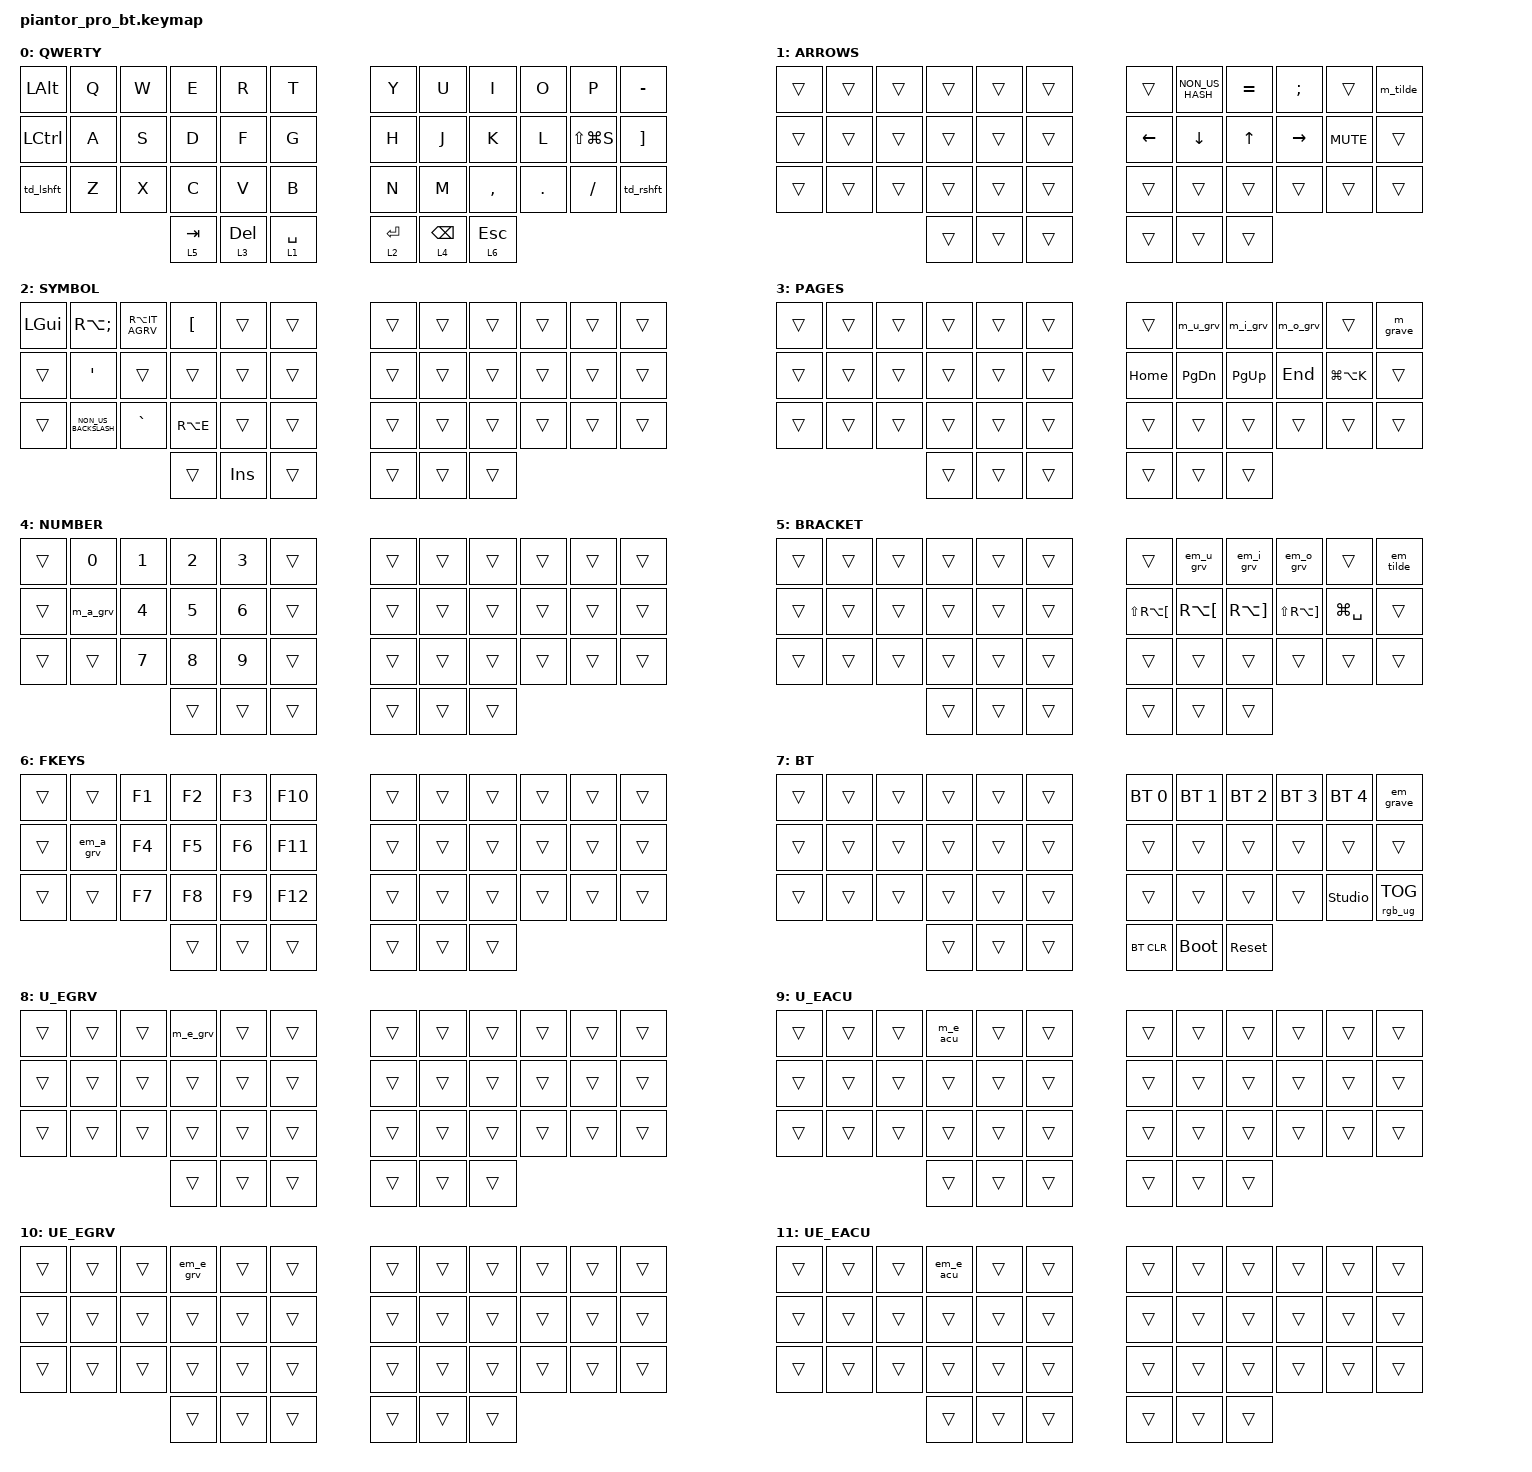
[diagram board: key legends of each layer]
// © 2026 Marco Bresciani
// SPDX-License-Identifier: EUPL-1.2
//
// Piantor Pro BT — ZMK Keymap
// OS layout : Italian (Windows)
// Base      : QWERTY
// Layers    : 12 (L0-L11, 5 conditional layers)

#include <behaviors.dtsi>
#include <dt-bindings/zmk/keys.h>
#include <dt-bindings/zmk/bt.h>
#include <dt-bindings/zmk/rgb.h>

// ── Italian layout aliases ────────────────────────────────────────────────────
#define IT_AGRV  SQT
#define IT_EGRV  LBKT
#define IT_OGRV  SEMI
#define IT_IGRV  EQUAL
#define IT_UGRV  NON_US_HASH
#define IT_PLUS  RBKT
#define IT_APOS  MINUS
#define IT_MINUS FSLH
#define IT_BKSL  GRAVE
#define IT_LT    NON_US_BACKSLASH
#define IT_AT    RA(SEMI)
#define IT_EUR   RA(E)
#define IT_HASH  RA(IT_AGRV)
#define IT_LBKT  RA(LBKT)
#define IT_RBKT  RA(RBKT)
#define IT_LCBR  LS(RA(LBKT))
#define IT_RCBR  LS(RA(RBKT))

// ── Shortcuts ─────────────────────────────────────────────────────────────────
#define SNIP     LS(LG(S))
#define MMUT     LG(LA(K))
#define IME      LG(SPACE)

// ── Layer-tap tuning ──────────────────────────────────────────────────────────
// Match QMK LT(layer, kc) baseline timing and enable double-tap-hold repeat.
&lt {
    tapping-term-ms = <200>;
    quick-tap-ms = <200>;
    require-prior-idle-ms = <150>;
};

/ {
    behaviors {
        td_lshft: td_lshft {
            compatible = "zmk,behavior-tap-dance";
            #binding-cells = <0>;
            tapping-term-ms = <200>;
            bindings = <&kp LSHFT>, <&kp CAPS>;
        };

        td_rshft: td_rshft {
            compatible = "zmk,behavior-tap-dance";
            #binding-cells = <0>;
            tapping-term-ms = <200>;
            bindings = <&kp RSHFT>, <&kp CAPS>;
        };
    };

    macros {
        // Windows Alt Code macros. Requires Num Lock ON on the host.
        m_a_grv: m_a_grv {
            compatible = "zmk,behavior-macro";
            #binding-cells = <0>;
            bindings = <&macro_press &kp LALT>,
                       <&macro_tap &kp KP_N0 &kp KP_N1 &kp KP_N9 &kp KP_N2>,
                       <&macro_release &kp LALT>;
        };

        m_e_grv: m_e_grv {
            compatible = "zmk,behavior-macro";
            #binding-cells = <0>;
            bindings = <&macro_press &kp LALT>,
                       <&macro_tap &kp KP_N0 &kp KP_N2 &kp KP_N0 &kp KP_N0>,
                       <&macro_release &kp LALT>;
        };

        m_e_acu: m_e_acu {
            compatible = "zmk,behavior-macro";
            #binding-cells = <0>;
            bindings = <&macro_press &kp LALT>,
                       <&macro_tap &kp KP_N0 &kp KP_N2 &kp KP_N0 &kp KP_N1>,
                       <&macro_release &kp LALT>;
        };

        m_i_grv: m_i_grv {
            compatible = "zmk,behavior-macro";
            #binding-cells = <0>;
            bindings = <&macro_press &kp LALT>,
                       <&macro_tap &kp KP_N0 &kp KP_N2 &kp KP_N0 &kp KP_N4>,
                       <&macro_release &kp LALT>;
        };

        m_o_grv: m_o_grv {
            compatible = "zmk,behavior-macro";
            #binding-cells = <0>;
            bindings = <&macro_press &kp LALT>,
                       <&macro_tap &kp KP_N0 &kp KP_N2 &kp KP_N1 &kp KP_N0>,
                       <&macro_release &kp LALT>;
        };

        m_u_grv: m_u_grv {
            compatible = "zmk,behavior-macro";
            #binding-cells = <0>;
            bindings = <&macro_press &kp LALT>,
                       <&macro_tap &kp KP_N0 &kp KP_N2 &kp KP_N1 &kp KP_N7>,
                       <&macro_release &kp LALT>;
        };

        m_tilde: m_tilde {
            compatible = "zmk,behavior-macro";
            #binding-cells = <0>;
            bindings = <&macro_press &kp LALT>,
                       <&macro_tap &kp KP_N1 &kp KP_N2 &kp KP_N6>,
                       <&macro_release &kp LALT>;
        };

        m_grave: m_grave {
            compatible = "zmk,behavior-macro";
            #binding-cells = <0>;
            bindings = <&macro_press &kp LALT>,
                       <&macro_tap &kp KP_N9 &kp KP_N6>,
                       <&macro_release &kp LALT>;
        };

        // Emacs C-x 8 RET <4-digit Unicode hex codepoint> RET macros.
        em_a_grv: em_a_grv {
            compatible = "zmk,behavior-macro";
            #binding-cells = <0>;
            bindings = <&macro_tap &kp LC(X) &kp N8 &kp RETURN &kp N0 &kp N0 &kp C &kp N0 &kp RETURN>;
        };

        em_e_grv: em_e_grv {
            compatible = "zmk,behavior-macro";
            #binding-cells = <0>;
            bindings = <&macro_tap &kp LC(X) &kp N8 &kp RETURN &kp N0 &kp N0 &kp C &kp N8 &kp RETURN>;
        };

        em_e_acu: em_e_acu {
            compatible = "zmk,behavior-macro";
            #binding-cells = <0>;
            bindings = <&macro_tap &kp LC(X) &kp N8 &kp RETURN &kp N0 &kp N0 &kp C &kp N9 &kp RETURN>;
        };

        em_i_grv: em_i_grv {
            compatible = "zmk,behavior-macro";
            #binding-cells = <0>;
            bindings = <&macro_tap &kp LC(X) &kp N8 &kp RETURN &kp N0 &kp N0 &kp C &kp C &kp RETURN>;
        };

        em_o_grv: em_o_grv {
            compatible = "zmk,behavior-macro";
            #binding-cells = <0>;
            bindings = <&macro_tap &kp LC(X) &kp N8 &kp RETURN &kp N0 &kp N0 &kp D &kp N2 &kp RETURN>;
        };

        em_u_grv: em_u_grv {
            compatible = "zmk,behavior-macro";
            #binding-cells = <0>;
            bindings = <&macro_tap &kp LC(X) &kp N8 &kp RETURN &kp N0 &kp N0 &kp D &kp N9 &kp RETURN>;
        };

        em_tilde: em_tilde {
            compatible = "zmk,behavior-macro";
            #binding-cells = <0>;
            bindings = <&macro_tap &kp LC(X) &kp N8 &kp RETURN &kp N0 &kp N0 &kp N7 &kp E &kp RETURN>;
        };

        em_grave: em_grave {
            compatible = "zmk,behavior-macro";
            #binding-cells = <0>;
            bindings = <&macro_tap &kp LC(X) &kp N8 &kp RETURN &kp N0 &kp N0 &kp N6 &kp N0 &kp RETURN>;
        };
    };

    conditional_layers {
        compatible = "zmk,conditional-layers";

        bt_layer {
            if-layers = <1 3>;          // SPC + DEL -> BT
            then-layer = <7>;
        };
        up_egrv_layer {
            if-layers = <2 4>;          // ENT + BSPC -> UP_EGRV
            then-layer = <8>;
        };
        up_eacu_layer {
            if-layers = <4 6>;          // BSPC + ESC -> UP_EACU
            then-layer = <9>;
        };
        emacs_egrv_layer {
            if-layers = <2 6>;          // ENT + ESC -> UP_E_EGRV
            then-layer = <10>;
        };
        emacs_eacu_layer {
            if-layers = <2 4 6>;        // ENT + BSPC + ESC -> UP_E_EACU
            then-layer = <11>;
        };
    };

    keymap {
        compatible = "zmk,keymap";

        QWERTY {
            display-name = "QWERTY";
            bindings = <
   &kp LALT    &kp Q  &kp W  &kp E  &kp R  &kp T        &kp Y      &kp U       &kp I      &kp O    &kp P         &kp IT_APOS
   &kp LCTRL  &kp A  &kp S  &kp D  &kp F  &kp G        &kp H      &kp J       &kp K      &kp L    &kp SNIP      &kp IT_PLUS
   &td_lshft  &kp Z  &kp X  &kp C  &kp V  &kp B        &kp N      &kp M       &kp COMMA  &kp DOT  &kp IT_MINUS  &td_rshft
             &lt 5 TAB  &lt 3 DEL  &lt 1 SPACE        &lt 2 RET  &lt 4 BSPC  &lt 6 ESC
            >;
        };

        ARROWS {
            display-name = "ARROWS";
            bindings = <
   &trans  &trans  &trans  &trans  &trans  &trans        &trans    &kp IT_UGRV  &kp IT_IGRV  &kp IT_OGRV  &trans      &m_tilde
   &trans  &trans  &trans  &trans  &trans  &trans        &kp LEFT  &kp DOWN     &kp UP       &kp RIGHT    &kp C_MUTE  &trans
   &trans  &trans  &trans  &trans  &trans  &trans        &trans    &trans       &trans       &trans       &trans      &trans
                           &trans  &trans  &trans        &trans    &trans       &trans
            >;
        };

        SYMBOL {
            display-name = "SYMBOL";
            bindings = <
   &kp LGUI  &kp IT_AT    &kp IT_HASH  &kp IT_EGRV  &trans   &trans        &trans  &trans  &trans  &trans  &trans  &trans
   &trans    &kp IT_AGRV  &trans       &trans       &trans   &trans        &trans  &trans  &trans  &trans  &trans  &trans
   &trans    &kp IT_LT    &kp IT_BKSL  &kp IT_EUR   &trans   &trans        &trans  &trans  &trans  &trans  &trans  &trans
                                       &trans       &kp INS  &trans        &trans  &trans  &trans
            >;
        };

        PAGES {
            display-name = "PAGES";
            bindings = <
   &trans  &trans  &trans  &trans  &trans  &trans        &trans    &m_u_grv   &m_i_grv   &m_o_grv  &trans    &m_grave
   &trans  &trans  &trans  &trans  &trans  &trans        &kp HOME  &kp PG_DN  &kp PG_UP  &kp END   &kp MMUT  &trans
   &trans  &trans  &trans  &trans  &trans  &trans        &trans    &trans     &trans     &trans    &trans    &trans
                           &trans  &trans  &trans        &trans    &trans     &trans
            >;
        };

        NUMBER {
            display-name = "NUMBER";
            bindings = <
   &trans  &kp N0    &kp N1  &kp N2  &kp N3  &trans        &trans  &trans  &trans  &trans  &trans  &trans
   &trans  &m_a_grv  &kp N4  &kp N5  &kp N6  &trans        &trans  &trans  &trans  &trans  &trans  &trans
   &trans  &trans    &kp N7  &kp N8  &kp N9  &trans        &trans  &trans  &trans  &trans  &trans  &trans
                             &trans  &trans  &trans        &trans  &trans  &trans
            >;
        };

        BRACKET {
            display-name = "BRACKET";
            bindings = <
   &trans  &trans  &trans  &trans  &trans  &trans        &trans       &em_u_grv    &em_i_grv    &em_o_grv    &trans   &em_tilde
   &trans  &trans  &trans  &trans  &trans  &trans        &kp IT_LCBR  &kp IT_LBKT  &kp IT_RBKT  &kp IT_RCBR  &kp IME  &trans
   &trans  &trans  &trans  &trans  &trans  &trans        &trans       &trans       &trans       &trans       &trans   &trans
                           &trans  &trans  &trans        &trans       &trans       &trans
            >;
        };

        FKEYS {
            display-name = "FKEYS";
            bindings = <
   &trans  &trans     &kp F1  &kp F2  &kp F3  &kp F10        &trans  &trans  &trans  &trans  &trans  &trans
   &trans  &em_a_grv  &kp F4  &kp F5  &kp F6  &kp F11        &trans  &trans  &trans  &trans  &trans  &trans
   &trans  &trans     &kp F7  &kp F8  &kp F9  &kp F12        &trans  &trans  &trans  &trans  &trans  &trans
                               &trans  &trans  &trans        &trans  &trans  &trans
            >;
        };

        BT {
            display-name = "BT";
            bindings = <
   &trans  &trans  &trans  &trans  &trans  &trans        &bt BT_SEL 0  &bt BT_SEL 1  &bt BT_SEL 2  &bt BT_SEL 3  &bt BT_SEL 4    &em_grave
   &trans  &trans  &trans  &trans  &trans  &trans        &trans        &trans        &trans        &trans        &trans          &trans
   &trans  &trans  &trans  &trans  &trans  &trans        &trans        &trans        &trans        &trans        &studio_unlock  &rgb_ug RGB_TOG
                           &trans  &trans  &trans        &bt BT_CLR    &bootloader   &sys_reset
            >;
        };

        U_EGRV {
            display-name = "U_EGRV";
            bindings = <
   &trans  &trans  &trans  &m_e_grv  &trans  &trans        &trans  &trans  &trans  &trans  &trans  &trans
   &trans  &trans  &trans  &trans    &trans  &trans        &trans  &trans  &trans  &trans  &trans  &trans
   &trans  &trans  &trans  &trans    &trans  &trans        &trans  &trans  &trans  &trans  &trans  &trans
                             &trans  &trans  &trans        &trans  &trans  &trans
            >;
        };

        U_EACU {
            display-name = "U_EACU";
            bindings = <
   &trans  &trans  &trans  &m_e_acu  &trans  &trans        &trans  &trans  &trans  &trans  &trans  &trans
   &trans  &trans  &trans  &trans    &trans  &trans        &trans  &trans  &trans  &trans  &trans  &trans
   &trans  &trans  &trans  &trans    &trans  &trans        &trans  &trans  &trans  &trans  &trans  &trans
                             &trans  &trans  &trans        &trans  &trans  &trans
            >;
        };

        UE_EGRV {
            display-name = "UE_EGRV";
            bindings = <
   &trans  &trans  &trans  &em_e_grv  &trans  &trans        &trans  &trans  &trans  &trans  &trans  &trans
   &trans  &trans  &trans  &trans     &trans  &trans        &trans  &trans  &trans  &trans  &trans  &trans
   &trans  &trans  &trans  &trans     &trans  &trans        &trans  &trans  &trans  &trans  &trans  &trans
                              &trans  &trans  &trans        &trans  &trans  &trans
            >;
        };

        UE_EACU {
            display-name = "UE_EACU";
            bindings = <
   &trans  &trans  &trans  &em_e_acu  &trans  &trans        &trans  &trans  &trans  &trans  &trans  &trans
   &trans  &trans  &trans  &trans     &trans  &trans        &trans  &trans  &trans  &trans  &trans  &trans
   &trans  &trans  &trans  &trans     &trans  &trans        &trans  &trans  &trans  &trans  &trans  &trans
                               &trans  &trans &trans        &trans  &trans  &trans
            >;
        };
    };
};
